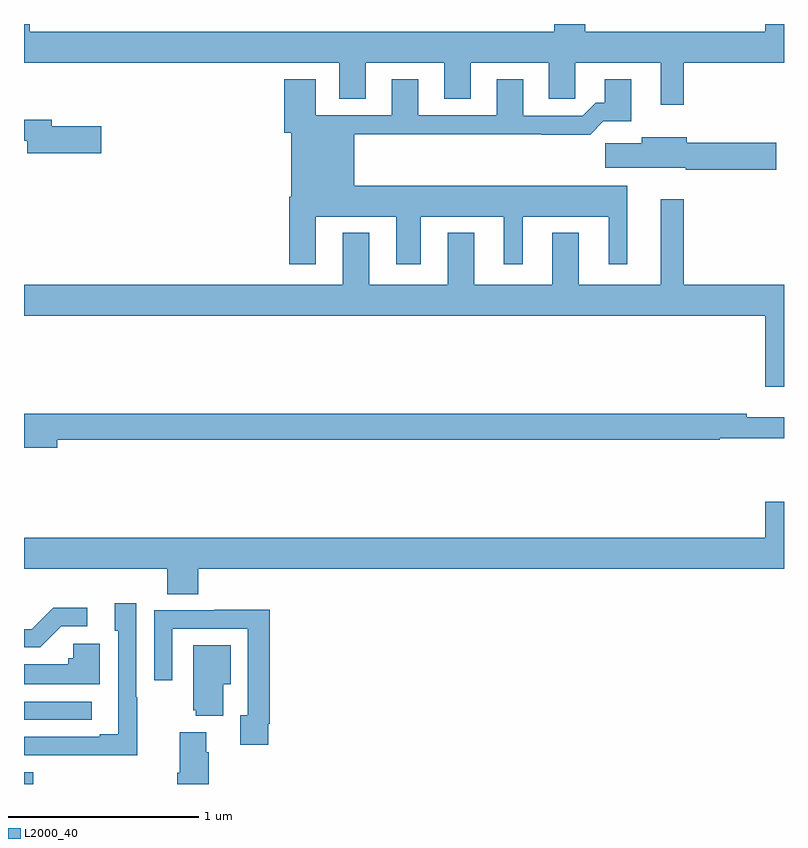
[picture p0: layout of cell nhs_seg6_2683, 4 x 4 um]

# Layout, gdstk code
import gdstk
lib = gdstk.Library(unit=1e-6, precision=1e-09)
def R(c, l, rs):  # rectangles x0, y0, x1, y1
    for r in rs: c.add(gdstk.rectangle(r[:2], r[2:], *l))
def P(c, l, *ps):  # polygons
    for p in ps: c.add(gdstk.Polygon(p, *l))
L2000_40 = (2000, 40)

nhs_seg6_2683 = lib.new_cell('nhs_seg6_2683')
R(nhs_seg6_2683, L2000_40, [(269,983.5,269.048,983.563), (269,983.838,269.356,983.934)])
P(nhs_seg6_2683, L2000_40, [(272.473,987.296),(273,987.296),(273,987.5),(272.9,987.5),(272.9,987.46),(271.954,987.46),(271.954,987.5),(271.79,987.5),(271.79,987.46),(269.03,987.46),(269.03,987.5),(269,987.5),(269,987.296),(270.659,987.296),(270.659,987.106),(270.799,987.106),(270.799,987.296),(271.211,987.296),(271.211,987.106),(271.351,987.106),(271.351,987.296),(271.763,987.296),(271.763,987.106),(271.902,987.106),(271.902,987.296),(272.351,987.296),(272.351,987.075),(272.473,987.075)],
  [(270.535,986.486),(270.959,986.486),(270.959,986.235),(271.087,986.235),(271.087,986.486),(271.526,986.486),(271.526,986.235),(271.624,986.235),(271.624,986.486),(272.078,986.486),(272.078,986.235),(272.176,986.235),(272.176,986.65),(270.739,986.65),(270.739,986.92),(271.723,986.92),(271.723,986.918),(271.979,986.918),(272.048,986.987),(272.197,986.987),(272.197,987.208),(272.057,987.208),(272.057,987.085),(272.008,987.085),(271.941,987.018),(271.627,987.018),(271.627,987.208),(271.487,987.208),(271.487,987.021),(271.075,987.021),(271.075,987.208),(270.935,987.208),(270.935,987.021),(270.535,987.021),(270.535,987.208),(270.371,987.208),(270.371,986.928),(270.407,986.928),(270.407,986.59),(270.395,986.59),(270.395,986.235),(270.535,986.235)],
  [(269.407,986.961),(269.146,986.961),(269.146,986.995),(269,986.995),(269,986.885),(269.018,986.885),(269.018,986.819),(269.407,986.819)],
  [(272.959,986.874),(272.488,986.874),(272.488,986.905),(272.252,986.905),(272.252,986.873),(272.058,986.873),(272.058,986.744),(272.484,986.744),(272.484,986.732),(272.959,986.732)],
  [(273,986.128),(272.473,986.128),(272.473,986.578),(272.351,986.578),(272.351,986.128),(271.921,986.128),(271.921,986.401),(271.781,986.401),(271.781,986.128),(271.369,986.128),(271.369,986.401),(271.229,986.401),(271.229,986.128),(270.817,986.128),(270.817,986.401),(270.677,986.401),(270.677,986.128),(269,986.128),(269,985.964),(272.9,985.964),(272.9,985.59),(273,985.59)],
  [(269.176,985.312),(272.662,985.312),(272.662,985.32),(273,985.32),(273,985.429),(272.804,985.429),(272.804,985.448),(269,985.448),(269,985.27),(269.176,985.27)],
  [(269.918,984.632),(273,984.632),(273,984.985),(272.9,984.985),(272.9,984.796),(269,984.796),(269,984.632),(269.753,984.632),(269.753,984.499),(269.918,984.499)],
  [(269.595,983.957),(269.592,983.957),(269.592,984.451),(269.477,984.451),(269.477,984.306),(269.496,984.306),(269.496,983.761),(269.399,983.761),(269.399,983.748),(269,983.748),(269,983.652),(269.131,983.652),(269.131,983.651),(269.595,983.651)],
  [(269.197,984.33),(269.332,984.33),(269.332,984.428),(269.153,984.428),(269.04,984.315),(269,984.315),(269,984.219),(269.086,984.219)],
  [(270.286,983.818),(270.293,983.818),(270.293,984.416),(270.001,984.416),(270.001,984.414),(269.685,984.414),(269.685,984.045),(269.781,984.045),(269.781,984.318),(270.177,984.318),(270.177,983.862),(270.137,983.862),(270.137,983.706),(270.286,983.706)],
  [(269.398,984.238),(269.259,984.238),(269.259,984.162),(269.233,984.162),(269.233,984.13),(269.002,984.13),(269.002,984.026),(269.398,984.026)],
  [(270.049,984.026),(270.088,984.026),(270.088,984.229),(269.891,984.229),(269.891,983.889),(269.903,983.889),(269.903,983.858),(270.049,983.858)],
  [(269.972,983.666),(269.959,983.666),(269.959,983.773),(269.819,983.773),(269.819,983.56),(269.807,983.56),(269.807,983.5),(269.972,983.5)])

lib.write_gds('nhs_seg6_2683.gds')
